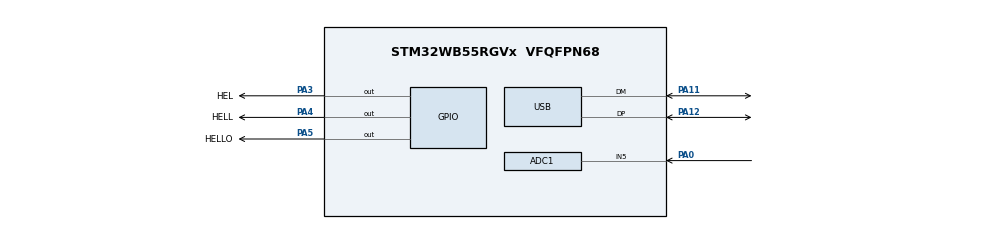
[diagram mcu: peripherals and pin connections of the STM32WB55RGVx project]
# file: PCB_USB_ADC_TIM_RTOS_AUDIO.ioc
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ADC1.Channel-0\#ChannelRegularConversion=ADC_CHANNEL_5
ADC1.ContinuousConvMode=ENABLE
ADC1.DMAContinuousRequests=ENABLE
ADC1.NbrOfConversionFlag=1
ADC1.OffsetNumber-0\#ChannelRegularConversion=ADC_OFFSET_NONE
ADC1.Rank-0\#ChannelRegularConversion=1
ADC1.SamplingTime-0\#ChannelRegularConversion=ADC_SAMPLETIME_247CYCLES_5
ADC1.master=1
Dma.ADC1.0.Direction=DMA_PERIPH_TO_MEMORY
Dma.ADC1.0.EventEnable=DISABLE
Dma.ADC1.0.Instance=DMA1_Channel1
Dma.ADC1.0.MemDataAlignment=DMA_MDATAALIGN_HALFWORD
Dma.ADC1.0.MemInc=DMA_MINC_ENABLE
Dma.ADC1.0.Mode=DMA_CIRCULAR
Dma.ADC1.0.PeriphDataAlignment=DMA_PDATAALIGN_HALFWORD
Dma.ADC1.0.PeriphInc=DMA_PINC_DISABLE
Dma.ADC1.0.Polarity=HAL_DMAMUX_REQ_GEN_RISING
Dma.ADC1.0.Priority=DMA_PRIORITY_LOW
Dma.ADC1.0.RequestNumber=1
Dma.ADC1.0.SignalID=NONE
Dma.ADC1.0.SyncEnable=DISABLE
Dma.ADC1.0.SyncPolarity=HAL_DMAMUX_SYNC_NO_EVENT
Dma.ADC1.0.SyncRequestNumber=1
Dma.ADC1.0.SyncSignalID=NONE
Dma.Request0=ADC1
FREERTOS.Mutexes01=TransmitMutex,Dynamic,NULL,Available
FREERTOS.Queues01=AudioQueue,1,uint8_t*,0,Dynamic,NULL,NULL
FREERTOS.Tasks01=defaultTask,40,128,StartDefaultTask,Default,NULL,Dynamic,NULL,NULL;Task1,24,1024,task1_handler,Default,NULL,Dynamic,NULL,NULL
FREERTOS.configTICK_RATE_HZ=800
FREERTOS.configTOTAL_HEAP_SIZE=32768
FREERTOS.configUSE_NEWLIB_REENTRANT=1
Mcu.Family=STM32WB
Mcu.Name=STM32WB55RGVx
Mcu.Package=VFQFPN68
NVIC.ADC1_IRQn=true\:5\:0\:false\:false\:true\:true\:true\:true\:true
NVIC.DMA1_Channel1_IRQn=true\:5\:0\:false\:false\:true\:true\:false\:true\:true
NVIC.PriorityGroup=NVIC_PRIORITYGROUP_4
NVIC.TIM1_UP_TIM16_IRQn=true\:15\:0\:false\:false\:true\:false\:false\:true\:true
NVIC.TIM2_IRQn=true\:5\:0\:false\:false\:true\:true\:true\:true\:true
NVIC.TimeBase=TIM1_UP_TIM16_IRQn
NVIC.TimeBaseIP=TIM1
NVIC.USB_LP_IRQn=true\:5\:0\:false\:false\:true\:true\:false\:true\:true
PA0.Signal=ADCx_IN5
PA11.Mode=Device
PA11.Signal=USB_DM
PA12.Mode=Device
PA12.Signal=USB_DP
PA13.Mode=Trace_Asynchronous_SW
PA13.Signal=SYS_JTMS-SWDIO
PA14.Mode=Trace_Asynchronous_SW
PA14.Signal=SYS_JTCK-SWCLK
PA3.GPIO_Label=HEL
PA3.Signal=GPIO_Output
PA4.GPIO_Label=HELL
PA4.Signal=GPIO_Output
PA5.GPIO_Label=HELLO
PA5.Signal=GPIO_Output
PB3.Mode=Trace_Asynchronous_SW
PB3.Signal=SYS_JTDO-SWO
PC14-OSC32_IN.Mode=LSE-External-Oscillator
PC14-OSC32_IN.Signal=RCC_OSC32_IN
PC15-OSC32_OUT.Mode=LSE-External-Oscillator
PC15-OSC32_OUT.Signal=RCC_OSC32_OUT
ProjectManager.HeapSize=0x200
ProjectManager.StackSize=0x400
ProjectManager.TargetToolchain=STM32CubeIDE
RCC.ADCFreq_Value=48000000
RCC.AHB2CLKDivider=RCC_SYSCLK_DIV2
RCC.AHBFreq_Value=64000000
RCC.APB1Freq_Value=64000000
RCC.APB1TimFreq_Value=64000000
RCC.APB2Freq_Value=64000000
RCC.APB2TimFreq_Value=64000000
RCC.APB3Freq_Value=16000000
RCC.CK48CLockSelection=RCC_USBCLKSOURCE_HSI48
RCC.CortexFreq_Value=64000000
RCC.HCLKFreq_Value=64000000
RCC.HSE_VALUE=8000000
RCC.HSI48_VALUE=48000000
RCC.HSI_VALUE=16000000
RCC.PLLN=32
RCC.PLLSAI1N=24
RCC.SYSCLKFreq_VALUE=64000000
RCC.SYSCLKSource=RCC_SYSCLKSOURCE_PLLCLK
RCC.USBFreq_Value=48000000
RCC.VCOOutputFreq_Value=128000000
SH.ADCx_IN5.0=ADC1_IN5,IN5-Single-Ended
TIM2.AutoReloadPreload=TIM_AUTORELOAD_PRELOAD_ENABLE
TIM2.Period=2560000-1
TIM2.TIM_MasterOutputTrigger=TIM_TRGO_UPDATE
USB_DEVICE.CLASS_NAME_FS=CDC
USB_DEVICE.VirtualMode=Cdc
USB_DEVICE.VirtualModeFS=Cdc_FS
VP_FREERTOS_VS_CMSIS_V2.Mode=CMSIS_V2
VP_MEMORYMAP_VS_MEMORYMAP.Mode=CurAppReg
VP_SYS_VS_tim1.Mode=TIM1
VP_TIM2_VS_ClockSourceINT.Mode=Internal
VP_USB_DEVICE_VS_USB_DEVICE_CDC_FS.Mode=CDC_FS
board=custom

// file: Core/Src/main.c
/* USER CODE BEGIN Header */
/**
  ******************************************************************************
  * @file           : main.c
  * @brief          : Main program body
  ******************************************************************************
  * @attention
  *
  * Copyright (c) 2025 STMicroelectronics.
  * All rights reserved.
  *
  * This software is licensed under terms that can be found in the LICENSE file
  * in the root directory of this software component.
  * If no LICENSE file comes with this software, it is provided AS-IS.
  *
  ******************************************************************************
  */
/* USER CODE END Header */
#include "main.h"
#include "cmsis_os.h"
#include "usb_device.h"

/* USER CODE BEGIN Includes */
#include <stdio.h>
#include <stdint.h>
#include <string.h>
#include "usbd_cdc_if.h"
/* USER CODE END Includes */

ADC_HandleTypeDef hadc1;
DMA_HandleTypeDef hdma_adc1;

TIM_HandleTypeDef htim2;

/* Definitions for defaultTask */
osThreadId_t defaultTaskHandle;
const osThreadAttr_t defaultTask_attributes = {
  .name = "defaultTask",
  .priority = (osPriority_t) osPriorityHigh,
  .stack_size = 128 * 4
};
/* Definitions for Task1 */
osThreadId_t Task1Handle;
const osThreadAttr_t Task1_attributes = {
  .name = "Task1",
  .priority = (osPriority_t) osPriorityNormal,
  .stack_size = 1024 * 4
};
/* Definitions for AudioQueue */
osMessageQueueId_t AudioQueueHandle;
const osMessageQueueAttr_t AudioQueue_attributes = {
  .name = "AudioQueue"
};
/* Definitions for TransmitMutex */
osMutexId_t TransmitMutexHandle;
const osMutexAttr_t TransmitMutex_attributes = {
  .name = "TransmitMutex"
};
/* USER CODE BEGIN PV */
uint16_t ADC_reading = 0;
uint8_t test = 0;
char msg[50];
uint8_t status = 128;
uint8_t flag = 0;
/* USER CODE END PV */

void SystemClock_Config(void);
void PeriphCommonClock_Config(void);
static void MX_GPIO_Init(void);
static void MX_DMA_Init(void);
static void MX_ADC1_Init(void);
static void MX_TIM2_Init(void);
void StartDefaultTask(void *argument);
void task1_handler(void *argument);

/* USER CODE BEGIN PFP */
void USB_transmit(uint8_t *buffer, size_t length);
/* USER CODE END PFP */

int main(void)
{

  /* MCU Configuration--------------------------------------------------------*/

  /* Reset of all peripherals, Initializes the Flash interface and the Systick. */
  HAL_Init();

  /* Configure the system clock */
  SystemClock_Config();

  /* Configure the peripherals common clocks */
  PeriphCommonClock_Config();

  /* Initialize all configured peripherals */
  MX_GPIO_Init();
  MX_DMA_Init();
  MX_ADC1_Init();
  MX_TIM2_Init();
  /* USER CODE BEGIN 2 */
  test++;
  HAL_ADC_Start_DMA(&hadc1, (uint32_t*)&ADC_reading, 1);
  test++;
  status = HAL_TIM_Base_Start_IT(&htim2);
  /* USER CODE END 2 */

  /* Init scheduler */
  osKernelInitialize();
  /* Create the mutex(es) */
  /* creation of TransmitMutex */
  TransmitMutexHandle = osMutexNew(&TransmitMutex_attributes);

  /* Create the queue(s) */
  /* creation of AudioQueue */
  AudioQueueHandle = osMessageQueueNew (1, sizeof(uint8_t*), &AudioQueue_attributes);

  /* Create the thread(s) */
  /* creation of defaultTask */
  defaultTaskHandle = osThreadNew(StartDefaultTask, NULL, &defaultTask_attributes);

  /* creation of Task1 */
  Task1Handle = osThreadNew(task1_handler, NULL, &Task1_attributes);

  /* Start scheduler */
  osKernelStart();

  /* We should never get here as control is now taken by the scheduler */

  /* Infinite loop */
  while (1)
  {

  }
}

void SystemClock_Config(void)
{
  RCC_OscInitTypeDef RCC_OscInitStruct = {0};
  RCC_ClkInitTypeDef RCC_ClkInitStruct = {0};

  /** Configure the main internal regulator output voltage
  */
  __HAL_PWR_VOLTAGESCALING_CONFIG(PWR_REGULATOR_VOLTAGE_SCALE1);

  /** Initializes the RCC Oscillators according to the specified parameters
  * in the RCC_OscInitTypeDef structure.
  */
  RCC_OscInitStruct.OscillatorType = RCC_OSCILLATORTYPE_HSI48|RCC_OSCILLATORTYPE_HSI
                              |RCC_OSCILLATORTYPE_MSI;
  RCC_OscInitStruct.HSIState = RCC_HSI_ON;
  RCC_OscInitStruct.MSIState = RCC_MSI_ON;
  RCC_OscInitStruct.HSI48State = RCC_HSI48_ON;
  RCC_OscInitStruct.HSICalibrationValue = RCC_HSICALIBRATION_DEFAULT;
  RCC_OscInitStruct.MSICalibrationValue = RCC_MSICALIBRATION_DEFAULT;
  RCC_OscInitStruct.MSIClockRange = RCC_MSIRANGE_6;
  RCC_OscInitStruct.PLL.PLLState = RCC_PLL_ON;
  RCC_OscInitStruct.PLL.PLLSource = RCC_PLLSOURCE_MSI;
  RCC_OscInitStruct.PLL.PLLM = RCC_PLLM_DIV1;
  RCC_OscInitStruct.PLL.PLLN = 32;
  RCC_OscInitStruct.PLL.PLLP = RCC_PLLP_DIV2;
  RCC_OscInitStruct.PLL.PLLR = RCC_PLLR_DIV2;
  RCC_OscInitStruct.PLL.PLLQ = RCC_PLLQ_DIV2;
  if (HAL_RCC_OscConfig(&RCC_OscInitStruct) != HAL_OK)
  {
    Error_Handler();
  }

  /** Configure the SYSCLKSource, HCLK, PCLK1 and PCLK2 clocks dividers
  */
  RCC_ClkInitStruct.ClockType = RCC_CLOCKTYPE_HCLK4|RCC_CLOCKTYPE_HCLK2
                              |RCC_CLOCKTYPE_HCLK|RCC_CLOCKTYPE_SYSCLK
                              |RCC_CLOCKTYPE_PCLK1|RCC_CLOCKTYPE_PCLK2;
  RCC_ClkInitStruct.SYSCLKSource = RCC_SYSCLKSOURCE_PLLCLK;
  RCC_ClkInitStruct.AHBCLKDivider = RCC_SYSCLK_DIV1;
  RCC_ClkInitStruct.APB1CLKDivider = RCC_HCLK_DIV1;
  RCC_ClkInitStruct.APB2CLKDivider = RCC_HCLK_DIV1;
  RCC_ClkInitStruct.AHBCLK2Divider = RCC_SYSCLK_DIV2;
  RCC_ClkInitStruct.AHBCLK4Divider = RCC_SYSCLK_DIV1;

  if (HAL_RCC_ClockConfig(&RCC_ClkInitStruct, FLASH_LATENCY_3) != HAL_OK)
  {
    Error_Handler();
  }
}

void PeriphCommonClock_Config(void)
{
  RCC_PeriphCLKInitTypeDef PeriphClkInitStruct = {0};

  /** Initializes the peripherals clock
  */
  PeriphClkInitStruct.PeriphClockSelection = RCC_PERIPHCLK_SMPS;
  PeriphClkInitStruct.SmpsClockSelection = RCC_SMPSCLKSOURCE_HSI;
  PeriphClkInitStruct.SmpsDivSelection = RCC_SMPSCLKDIV_RANGE1;

  if (HAL_RCCEx_PeriphCLKConfig(&PeriphClkInitStruct) != HAL_OK)
  {
    Error_Handler();
  }
}

static void MX_ADC1_Init(void)
{

  ADC_ChannelConfTypeDef sConfig = {0};

  /** Common config
  */
  hadc1.Instance = ADC1;
  hadc1.Init.ClockPrescaler = ADC_CLOCK_ASYNC_DIV1;
  hadc1.Init.Resolution = ADC_RESOLUTION_12B;
  hadc1.Init.DataAlign = ADC_DATAALIGN_RIGHT;
  hadc1.Init.ScanConvMode = ADC_SCAN_DISABLE;
  hadc1.Init.EOCSelection = ADC_EOC_SINGLE_CONV;
  hadc1.Init.LowPowerAutoWait = DISABLE;
  hadc1.Init.ContinuousConvMode = ENABLE;
  hadc1.Init.NbrOfConversion = 1;
  hadc1.Init.DiscontinuousConvMode = DISABLE;
  hadc1.Init.ExternalTrigConv = ADC_SOFTWARE_START;
  hadc1.Init.ExternalTrigConvEdge = ADC_EXTERNALTRIGCONVEDGE_NONE;
  hadc1.Init.DMAContinuousRequests = ENABLE;
  hadc1.Init.Overrun = ADC_OVR_DATA_PRESERVED;
  hadc1.Init.OversamplingMode = DISABLE;
  if (HAL_ADC_Init(&hadc1) != HAL_OK)
  {
    Error_Handler();
  }

  /** Configure Regular Channel
  */
  sConfig.Channel = ADC_CHANNEL_5;
  sConfig.Rank = ADC_REGULAR_RANK_1;
  sConfig.SamplingTime = ADC_SAMPLETIME_247CYCLES_5;
  sConfig.SingleDiff = ADC_SINGLE_ENDED;
  sConfig.OffsetNumber = ADC_OFFSET_NONE;
  sConfig.Offset = 0;
  if (HAL_ADC_ConfigChannel(&hadc1, &sConfig) != HAL_OK)
  {
    Error_Handler();
  }

}

static void MX_TIM2_Init(void)
{

  TIM_ClockConfigTypeDef sClockSourceConfig = {0};
  TIM_MasterConfigTypeDef sMasterConfig = {0};

  htim2.Instance = TIM2;
  htim2.Init.Prescaler = 0;
  htim2.Init.CounterMode = TIM_COUNTERMODE_UP;
  htim2.Init.Period = 2560000-1;
  htim2.Init.ClockDivision = TIM_CLOCKDIVISION_DIV1;
  htim2.Init.AutoReloadPreload = TIM_AUTORELOAD_PRELOAD_ENABLE;
  if (HAL_TIM_Base_Init(&htim2) != HAL_OK)
  {
    Error_Handler();
  }
  sClockSourceConfig.ClockSource = TIM_CLOCKSOURCE_INTERNAL;
  if (HAL_TIM_ConfigClockSource(&htim2, &sClockSourceConfig) != HAL_OK)
  {
    Error_Handler();
  }
  sMasterConfig.MasterOutputTrigger = TIM_TRGO_UPDATE;
  sMasterConfig.MasterSlaveMode = TIM_MASTERSLAVEMODE_DISABLE;
  if (HAL_TIMEx_MasterConfigSynchronization(&htim2, &sMasterConfig) != HAL_OK)
  {
    Error_Handler();
  }

}

static void MX_DMA_Init(void)
{

  /* DMA controller clock enable */
  __HAL_RCC_DMAMUX1_CLK_ENABLE();
  __HAL_RCC_DMA1_CLK_ENABLE();

  /* DMA interrupt init */
  /* DMA1_Channel1_IRQn interrupt configuration */
  HAL_NVIC_SetPriority(DMA1_Channel1_IRQn, 5, 0);
  HAL_NVIC_EnableIRQ(DMA1_Channel1_IRQn);

}

static void MX_GPIO_Init(void)
{
  GPIO_InitTypeDef GPIO_InitStruct = {0};

  /* GPIO Ports Clock Enable */
  __HAL_RCC_GPIOC_CLK_ENABLE();
  __HAL_RCC_GPIOA_CLK_ENABLE();
  __HAL_RCC_GPIOB_CLK_ENABLE();

  /*Configure GPIO pin Output Level */
  HAL_GPIO_WritePin(GPIOA, HEL_Pin|HELL_Pin|HELLO_Pin, GPIO_PIN_RESET);

  /*Configure GPIO pins : HEL_Pin HELL_Pin HELLO_Pin */
  GPIO_InitStruct.Pin = HEL_Pin|HELL_Pin|HELLO_Pin;
  GPIO_InitStruct.Mode = GPIO_MODE_OUTPUT_PP;
  GPIO_InitStruct.Pull = GPIO_NOPULL;
  GPIO_InitStruct.Speed = GPIO_SPEED_FREQ_LOW;
  HAL_GPIO_Init(GPIOA, &GPIO_InitStruct);

}

/* USER CODE BEGIN 4 */
void USB_transmit(uint8_t *buffer, size_t length){
	osStatus_t status;

	osMutexAcquire(TransmitMutexHandle, osWaitForever);
	status = CDC_Transmit_FS(buffer, length);
	osMutexRelease(TransmitMutexHandle);

	if (status != osOK){
		//HAL_GPIO_TogglePin(LD3_GPIO_Port, LD3_Pin);
		//HAL_GPIO_WritePin(LD3_GPIO_Port, LD3_Pin, GPIO_PIN_SET);
		//sprintf(msg, "Error, status code: %d \r\n", status);
		//sprintf(msg, "Error");
		//HAL_UART_Transmit(&huart1, (uint8_t *) msg, strlen(msg), HAL_MAX_DELAY);

	}
}
/* USER CODE END 4 */

void StartDefaultTask(void *argument)
{
  /* init code for USB_Device */
  MX_USB_Device_Init();
  /* USER CODE BEGIN 5 */
  /* Infinite loop */
  for(;;)
  {
	osThreadExit();
  }
  /* USER CODE END 5 */
}

void task1_handler(void *argument)
{
  /* USER CODE BEGIN task1_handler */
	uint8_t buffer[20];
  /* Infinite loop */
  for(;;)
  {
	  osThreadFlagsWait(0x01, osFlagsWaitAny, osWaitForever);
	  sprintf((char*)buffer,"%d\r\n",ADC_reading);
	  USB_transmit(buffer, sizeof(buffer));

  }
  /* USER CODE END task1_handler */
}

void HAL_TIM_PeriodElapsedCallback(TIM_HandleTypeDef *htim)
{
  if (htim->Instance == TIM1)
  {
    HAL_IncTick();
  }
  /* USER CODE BEGIN Callback 1 */
  if (htim->Instance == TIM2) {
		osThreadFlagsSet(Task1Handle, 0x01);
  	/*static uint16_t sample_count = 0;
  	static uint16_t counter = 0;
  	static uint8_t buffer1[2*AUDIO_PACKET_SIZE+1];
  	buffer1[0] = (uint8_t)-128;
  	static uint8_t buffer2[2*AUDIO_PACKET_SIZE+1];
  	buffer2[0] = (uint8_t)-128;
  	static uint8_t *active_buffer = buffer1;
  	static uint8_t *passive_buffer = buffer2;
  	osStatus_t status;

  	//update buffer
  	memcpy(&active_buffer[2*sample_count+1], &counter, sizeof(uint16_t));
  	//memcpy(&active_buffer[2*sample_count+1], &ADC_reading, sizeof(uint16_t));

  	counter++;
  	sample_count++;

  	if (counter == 32000){
  		counter = 0;
  	}

  	// Use the local counter to determine when to signal
  	if(sample_count == AUDIO_PACKET_SIZE)
  	{
  		status = osMessageQueuePut(AudioQueueHandle, (const void*)&active_buffer, 0, 0);
  		if (status != osOK){
  			HAL_GPIO_TogglePin(LD3_GPIO_Port, LD3_Pin);
  		}
  		//swap buffers so buffer points to the other buffer
  		uint8_t *temp = active_buffer;
  		active_buffer = passive_buffer;
  		passive_buffer = temp;
  		sample_count = 0;
  		osThreadFlagsSet(Task1Handle, 0x01);
  	}*/
    }
  /* USER CODE END Callback 1 */
}

void Error_Handler(void)
{
  __disable_irq();
  while (1)
  {
  }
}
